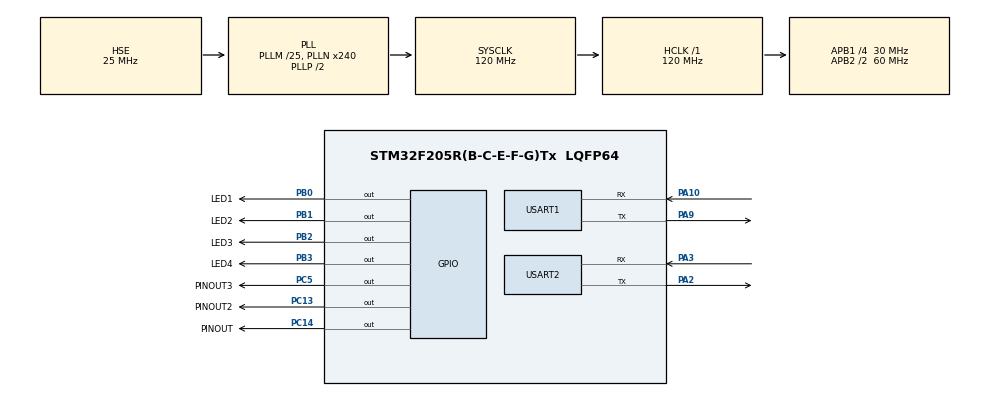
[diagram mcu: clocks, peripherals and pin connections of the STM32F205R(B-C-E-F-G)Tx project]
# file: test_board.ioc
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Mcu.Family=STM32F2
Mcu.Name=STM32F205R(B-C-E-F-G)Tx
Mcu.Package=LQFP64
NVIC.PriorityGroup=NVIC_PRIORITYGROUP_4
NVIC.TIM2_IRQn=true\:0\:0\:false\:false\:true\:true\:true
NVIC.TIM3_IRQn=true\:0\:0\:false\:false\:true\:true\:true
NVIC.USART1_IRQn=true\:0\:0\:false\:false\:true\:true\:true
NVIC.USART2_IRQn=true\:0\:0\:false\:false\:true\:true\:true
PA10.Mode=Asynchronous
PA10.Signal=USART1_RX
PA2.Mode=Asynchronous
PA2.Signal=USART2_TX
PA3.Mode=Asynchronous
PA3.Signal=USART2_RX
PA9.Mode=Asynchronous
PA9.Signal=USART1_TX
PB0.GPIO_Label=LED1
PB0.Signal=GPIO_Output
PB1.GPIO_Label=LED2
PB1.Signal=GPIO_Output
PB2.GPIO_Label=LED3
PB2.Signal=GPIO_Output
PB3.GPIO_Label=LED4
PB3.Signal=GPIO_Output
PC13.GPIO_Label=PINOUT2
PC13.Signal=GPIO_Output
PC14-OSC32_IN.GPIO_Label=PINOUT
PC14-OSC32_IN.Signal=GPIO_Output
PC5.GPIO_Label=PINOUT3
PC5.Signal=GPIO_Output
PH0-OSC_IN.Mode=HSE-External-Oscillator
PH0-OSC_IN.Signal=RCC_OSC_IN
PH1-OSC_OUT.Mode=HSE-External-Oscillator
PH1-OSC_OUT.Signal=RCC_OSC_OUT
ProjectManager.HeapSize=0x200
ProjectManager.StackSize=0x400
ProjectManager.TargetToolchain=MDK-ARM V5
RCC.48MHZClocksFreq_Value=60000000
RCC.AHBFreq_Value=120000000
RCC.APB1CLKDivider=RCC_HCLK_DIV4
RCC.APB1Freq_Value=30000000
RCC.APB1TimFreq_Value=60000000
RCC.APB2CLKDivider=RCC_HCLK_DIV2
RCC.APB2Freq_Value=60000000
RCC.APB2TimFreq_Value=120000000
RCC.CortexFreq_Value=120000000
RCC.HCLKFreq_Value=120000000
RCC.HSE_VALUE=25000000
RCC.HSI_VALUE=16000000
RCC.LSE_VALUE=32768
RCC.PLLM=25
RCC.PLLN=240
RCC.PLLSourceVirtual=RCC_PLLSOURCE_HSE
RCC.SYSCLKFreq_VALUE=120000000
RCC.SYSCLKSource=RCC_SYSCLKSOURCE_PLLCLK
RCC.VCOOutputFreq_Value=240000000
TIM2.AutoReloadPreload=TIM_AUTORELOAD_PRELOAD_ENABLE
TIM2.CounterMode=TIM_COUNTERMODE_UP
TIM2.Period=1
TIM2.Prescaler=2999
TIM3.AutoReloadPreload=TIM_AUTORELOAD_PRELOAD_ENABLE
TIM3.Period=249
TIM3.Prescaler=59999
USART1.VirtualMode=VM_ASYNC
USART2.VirtualMode=VM_ASYNC
VP_TIM2_VS_ClockSourceINT.Mode=Internal
VP_TIM3_VS_ClockSourceINT.Mode=Internal
board=custom

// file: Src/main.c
/* USER CODE BEGIN Header */
/**
  ******************************************************************************
  * @file           : main.c
  * @brief          : Main program body
  ******************************************************************************
  * @attention
  *
  * <h2><center>&copy; Copyright (c) 2020 STMicroelectronics.
  * All rights reserved.</center></h2>
  *
  * This software component is licensed by ST under BSD 3-Clause license,
  * the "License"; You may not use this file except in compliance with the
  * License. You may obtain a copy of the License at:
  *                        opensource.org/licenses/BSD-3-Clause
  *
  ******************************************************************************
  */
/* USER CODE END Header */

#include "main.h"
#include "tim.h"
#include "usart.h"
#include "gpio.h"

/* USER CODE BEGIN Includes */
#include <stdio.h>
#include <string.h>
#include "cmd.h"
#include "function.h"
#include "ring_buffer.h"
/* USER CODE END Includes */

/* USER CODE BEGIN PD */
#define VER "0.1.5"
#define CMD_LENGTH 256
/* USER CODE END PD */

void SystemClock_Config(void);

/* USER CODE BEGIN 0 */
uint8_t usart1_tx_buf[256];
uint8_t usart2_tx_buf[TRANS_MAX_LENGTH];
uint32_t counter = 0;

extern usart_tr_stu *usart1_tr;
uint8_t uart1_data;
uint8_t uart1_irq_sel;
/* USER CODE END 0 */

int main(void)
{
  /* USER CODE BEGIN 1 */
  uint8_t ch;
  uint8_t cmd[CMD_LENGTH];
  uint32_t cmd_len = 0;
  /* USER CODE END 1 */

  /* MCU Configuration--------------------------------------------------------*/

  /* Reset of all peripherals, Initializes the Flash interface and the Systick. */
  HAL_Init();

  /* Configure the system clock */
  SystemClock_Config();

  /* Initialize all configured peripherals */
  MX_GPIO_Init();
  MX_TIM3_Init();
  MX_USART1_UART_Init();
  MX_USART2_UART_Init();
  MX_TIM2_Init();
  /* USER CODE BEGIN 2 */
  rb_init(usart1_tr->rb, USART_RX_BUF_SIZE, usart1_tr->rx_buf);
  rb_init(usart1_tr->wb, USART_TX_BUF_SIZE, usart1_tr->tx_buf);
  uart1_irq_sel = 1;
  __HAL_UART_ENABLE_IT(&huart1, UART_IT_RXNE);

  HAL_TIM_Base_Start_IT(&htim3);
  HAL_GPIO_WritePin(PINOUT_GPIO_Port, PINOUT_Pin, GPIO_PIN_SET);
  HAL_GPIO_WritePin(PINOUT2_GPIO_Port, PINOUT2_Pin, GPIO_PIN_SET);
  HAL_GPIO_WritePin(PINOUT3_GPIO_Port, PINOUT3_Pin, GPIO_PIN_SET);

  //HAL_UART_Receive_IT(&huart1, &uart1_data, 1);

  PRINT("COM is ready\n");
  PRINT("Firmware Version: " VER "\n");
  PRINT(">");
  /* USER CODE END 2 */

  /* Infinite loop */
  /* USER CODE BEGIN WHILE */
  while (1)
  {
    if (serial_available() > 0) {
      ch = serial_read();

      if (ch == '\r') continue;

      if (ch == '\n') {
        PRINT("\n");
        cmd[cmd_len] = 0;
        process_cmd((char*)cmd);
        PRINT(">");
        cmd_len = 0;
      } else if (ch == '\b') {
        if (cmd_len > 0) {
          HAL_UART_Transmit(&huart1, &ch, 1, 0xFFFFFFFF);
          PRINT(" ");
          HAL_UART_Transmit(&huart1, &ch, 1, 0xFFFFFFFF);
          --cmd_len;
        }
      } else {
        if (cmd_len < CMD_LENGTH - 1)
          cmd[cmd_len++] = ch;
        HAL_UART_Transmit(&huart1, &ch, 1, 0xFFFFFFFF);
      }
    }
    /* USER CODE END WHILE */

  }
}

void SystemClock_Config(void)
{
  RCC_OscInitTypeDef RCC_OscInitStruct = {0};
  RCC_ClkInitTypeDef RCC_ClkInitStruct = {0};

  /** Initializes the CPU, AHB and APB busses clocks
  */
  RCC_OscInitStruct.OscillatorType = RCC_OSCILLATORTYPE_HSE;
  RCC_OscInitStruct.HSEState = RCC_HSE_ON;
  RCC_OscInitStruct.PLL.PLLState = RCC_PLL_ON;
  RCC_OscInitStruct.PLL.PLLSource = RCC_PLLSOURCE_HSE;
  RCC_OscInitStruct.PLL.PLLM = 25;
  RCC_OscInitStruct.PLL.PLLN = 240;
  RCC_OscInitStruct.PLL.PLLP = RCC_PLLP_DIV2;
  RCC_OscInitStruct.PLL.PLLQ = 4;
  if (HAL_RCC_OscConfig(&RCC_OscInitStruct) != HAL_OK)
  {
    Error_Handler();
  }
  /** Initializes the CPU, AHB and APB busses clocks
  */
  RCC_ClkInitStruct.ClockType = RCC_CLOCKTYPE_HCLK|RCC_CLOCKTYPE_SYSCLK
                              |RCC_CLOCKTYPE_PCLK1|RCC_CLOCKTYPE_PCLK2;
  RCC_ClkInitStruct.SYSCLKSource = RCC_SYSCLKSOURCE_PLLCLK;
  RCC_ClkInitStruct.AHBCLKDivider = RCC_SYSCLK_DIV1;
  RCC_ClkInitStruct.APB1CLKDivider = RCC_HCLK_DIV4;
  RCC_ClkInitStruct.APB2CLKDivider = RCC_HCLK_DIV2;

  if (HAL_RCC_ClockConfig(&RCC_ClkInitStruct, FLASH_LATENCY_3) != HAL_OK)
  {
    Error_Handler();
  }
}

/* USER CODE BEGIN 4 */

console_cmd cmdlist[] = {
  //{"temp", cmd_temp, "Get temperature", "temp", "temp"},
  {"version", cmd_version, "Get version", "version", "version"},
  //{"reset", cmd_reset, "Reset the device", "reset", "reset"},
  //{"log", cmd_log, "Command about log", "log packets | get <packets> <number>", "log packets | get 123 2"},
  {"upgrade", cmd_upgrade, "Command about upgrade", "upgrade init | file | install", "upgrade init | file | install"},
  //{"test", cmd_for_test, "Command for test", "test wd | eeprom write <addr> <value> <count> / read <addr> <count> | spi chan <chan_num>",\
                          "test wd | eeprom write 0x10 0xAA 15 | eeprom read 0x10 64 | eeprom spi chan 2"},
  {"help", cmd_help, "Help information", "help | <cmd> help", "help | upgrade help"},
};
const uint32_t cmd_count = sizeof(cmdlist) / sizeof(cmdlist[0]);

void HAL_UART_RxCpltCallback(UART_HandleTypeDef *huart)
{
  if (huart->Instance == USART1) {
    if (rb_is_full(usart1_tr->rb)) {
        rb_remove(usart1_tr->rb);
    }
    rb_insert(usart1_tr->rb, uart1_data);

    HAL_UART_Receive_IT(&huart1, &uart1_data, 1);
  }
}

void HAL_TIM_PeriodElapsedCallback(TIM_HandleTypeDef *htim)
{
  if (htim->Instance == TIM3) {
    TOGGLE_LED1();
  } else if (htim->Instance == TIM2) {
    switch (counter++) {
      case 0:
        HAL_GPIO_WritePin(PINOUT_GPIO_Port, PINOUT_Pin, GPIO_PIN_RESET);
        HAL_GPIO_WritePin(PINOUT2_GPIO_Port, PINOUT2_Pin, GPIO_PIN_RESET);
        HAL_GPIO_WritePin(PINOUT3_GPIO_Port, PINOUT3_Pin, GPIO_PIN_RESET);
        break;
      case 1:
        HAL_GPIO_WritePin(PINOUT_GPIO_Port, PINOUT_Pin, GPIO_PIN_SET);
        HAL_GPIO_WritePin(PINOUT2_GPIO_Port, PINOUT2_Pin, GPIO_PIN_SET);
        HAL_GPIO_WritePin(PINOUT3_GPIO_Port, PINOUT3_Pin, GPIO_PIN_SET);
        break;
      case 2:
        HAL_GPIO_WritePin(PINOUT_GPIO_Port, PINOUT_Pin, GPIO_PIN_RESET);
        HAL_GPIO_WritePin(PINOUT2_GPIO_Port, PINOUT2_Pin, GPIO_PIN_RESET);
        HAL_GPIO_WritePin(PINOUT3_GPIO_Port, PINOUT3_Pin, GPIO_PIN_RESET);
        break;
      case 3:
        break;
      case 4:
        HAL_GPIO_WritePin(PINOUT_GPIO_Port, PINOUT_Pin, GPIO_PIN_SET);
        HAL_GPIO_WritePin(PINOUT2_GPIO_Port, PINOUT2_Pin, GPIO_PIN_SET);
        HAL_GPIO_WritePin(PINOUT3_GPIO_Port, PINOUT3_Pin, GPIO_PIN_SET);
        break;
      case 5:
        HAL_GPIO_WritePin(PINOUT_GPIO_Port, PINOUT_Pin, GPIO_PIN_RESET);
        HAL_GPIO_WritePin(PINOUT2_GPIO_Port, PINOUT2_Pin, GPIO_PIN_RESET);
        HAL_GPIO_WritePin(PINOUT3_GPIO_Port, PINOUT3_Pin, GPIO_PIN_RESET);
        break;
      case 6:
        break;
      case 7:
        break;
      case 8:
        HAL_GPIO_WritePin(PINOUT_GPIO_Port, PINOUT_Pin, GPIO_PIN_SET);
        HAL_GPIO_WritePin(PINOUT2_GPIO_Port, PINOUT2_Pin, GPIO_PIN_SET);
        HAL_GPIO_WritePin(PINOUT3_GPIO_Port, PINOUT3_Pin, GPIO_PIN_SET);
        counter = 0;
        break;
      default:
        break;
    }

  }
}
#if 0
uint32_t send_cmd(uint8_t ch, char *arg)
{
  uint32_t length, rcv_len;

  CLEAR_BIT(huart2.Instance->SR, USART_SR_RXNE);
  __HAL_UART_FLUSH_DRREGISTER(&huart2);

  switch (ch) {
    case 'C':
      HAL_GPIO_WritePin(PINOUT_GPIO_Port, PINOUT_Pin, GPIO_PIN_SET);
      HAL_GPIO_WritePin(PINOUT2_GPIO_Port, PINOUT2_Pin, GPIO_PIN_SET);
      HAL_GPIO_WritePin(PINOUT3_GPIO_Port, PINOUT3_Pin, GPIO_PIN_SET);
      counter = 0;
      HAL_TIM_Base_Start_IT(&htim2);
      return 0;
    case 'D':
      HAL_GPIO_WritePin(PINOUT_GPIO_Port, PINOUT_Pin, GPIO_PIN_SET);
      HAL_GPIO_WritePin(PINOUT2_GPIO_Port, PINOUT2_Pin, GPIO_PIN_SET);
      HAL_GPIO_WritePin(PINOUT3_GPIO_Port, PINOUT3_Pin, GPIO_PIN_SET);
      HAL_TIM_Base_Stop_IT(&htim2);
      return 0;
    default:
      EPT("Unknown command\n");
      return 0;
  }

  return 0;
}
#endif
/* USER CODE END 4 */

void Error_Handler(void)
{
}

/************************ (C) COPYRIGHT STMicroelectronics *****END OF FILE****/
